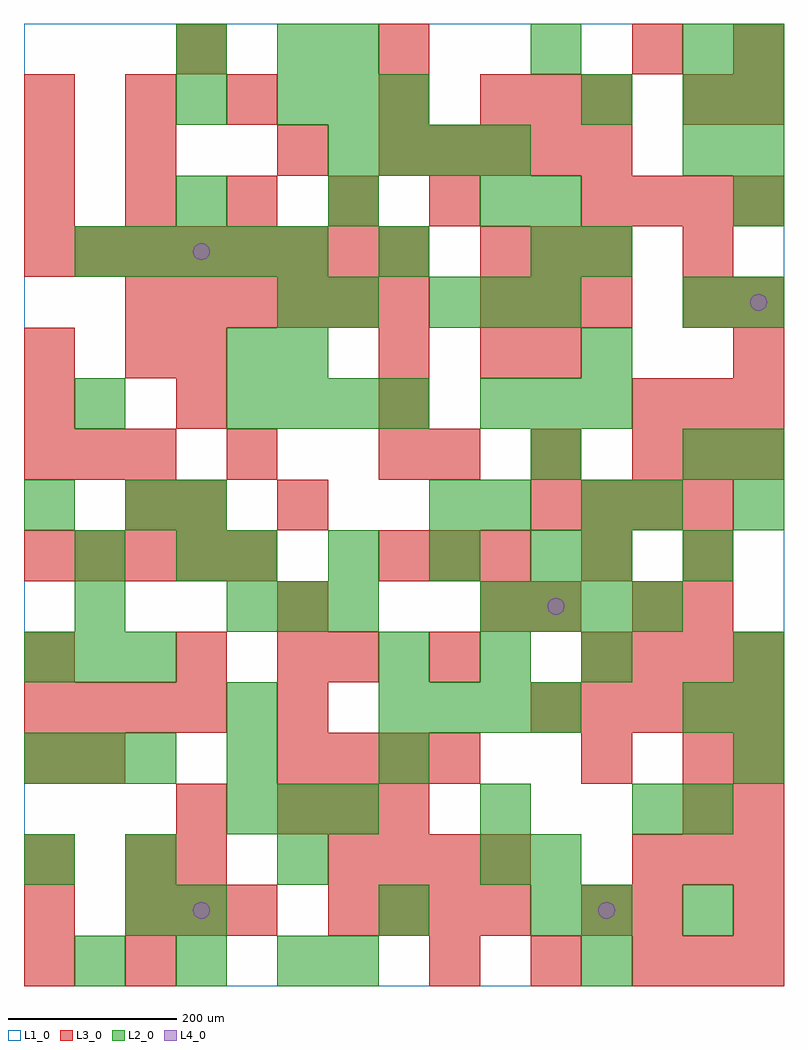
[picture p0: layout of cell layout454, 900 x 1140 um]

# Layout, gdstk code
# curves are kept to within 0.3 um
import gdstk
lib = gdstk.Library(unit=1e-6, precision=1e-09)
def R(c, l, rs):  # rectangles x0, y0, x1, y1
    for r in rs: c.add(gdstk.rectangle(r[:2], r[2:], *l))
def A(c, l, x, y, w, h, nx, ny, dx, dy):  # array of equal rectangles
    R(c, l, [(x+i*dx, y+j*dy, x+i*dx+w, y+j*dy+h) for i in range(nx) for j in range(ny)])
def P(c, l, *ps):  # polygons
    for p in ps: c.add(gdstk.Polygon(p, *l))
L1_0 = (1, 0)
L2_0 = (2, 0)
L3_0 = (3, 0)
L4_0 = (4, 0)

layout454 = lib.new_cell('layout454')
R(layout454, L1_0, [(0,0,900,1140)])
A(layout454, L2_0, 60, 0, 60, 60, 3, 1, 120, 0)
A(layout454, L2_0, 780, 60, 60, 60, 1, 3, 0, 120)
A(layout454, L2_0, 240, 180, 60, 60, 3, 2, 60, 240)
A(layout454, L2_0, 0, 240, 60, 60, 3, 2, 60, 120)
A(layout454, L2_0, 840, 240, 60, 60, 1, 3, 0, 60)
A(layout454, L2_0, 420, 300, 60, 60, 4, 1, 60, 0)
A(layout454, L2_0, 420, 360, 60, 60, 3, 1, 120, 0)
A(layout454, L2_0, 540, 420, 60, 60, 4, 1, 60, 0)
A(layout454, L2_0, 240, 480, 60, 60, 4, 1, 120, 0)
A(layout454, L2_0, 780, 600, 60, 60, 1, 3, 0, 180)
A(layout454, L2_0, 240, 660, 60, 60, 4, 1, 60, 0)
A(layout454, L2_0, 540, 660, 60, 60, 3, 1, 60, 0)
A(layout454, L2_0, 480, 780, 60, 60, 3, 1, 60, 0)
A(layout454, L2_0, 60, 840, 60, 60, 5, 1, 60, 0)
A(layout454, L2_0, 180, 900, 60, 60, 3, 1, 180, 0)
A(layout454, L2_0, 840, 900, 60, 60, 1, 4, 0, 60)
A(layout454, L2_0, 360, 960, 60, 60, 4, 1, 60, 0)
A(layout454, L2_0, 300, 1020, 60, 60, 3, 1, 60, 0)
R(layout454, L2_0, [(360,0,420,60), (660,0,720,60), (120,60,180,120), (180,60,240,120), (420,60,480,120), (600,60,660,120), (660,60,720,120), (0,120,60,180), (120,120,180,180), (300,120,360,180), (540,120,600,180), (600,120,660,180), (540,180,600,240), (720,180,780,240), (240,240,300,300), (420,240,480,300), (240,300,300,360), (60,420,120,480), (60,480,120,540), (180,480,240,540), (660,480,720,540), (780,480,840,540), (0,540,60,600), (120,540,180,600), (180,540,240,600), (480,540,540,600), (540,540,600,600), (660,540,720,600), (720,540,780,600), (840,540,900,600), (600,600,660,660), (840,600,900,660), (60,660,120,720), (240,720,300,780), (300,720,360,780), (660,720,720,780), (300,780,360,840), (360,780,420,840), (840,780,900,840), (420,840,480,900), (600,840,660,900), (660,840,720,900), (600,900,660,960), (180,1020,240,1080), (660,1020,720,1080), (780,1020,840,1080), (180,1080,240,1140), (300,1080,360,1140), (360,1080,420,1140), (600,1080,660,1140), (780,1080,840,1140)])
A(layout454, L3_0, 0, 0, 60, 60, 1, 3, 0, 60)
A(layout454, L3_0, 480, 0, 60, 60, 3, 2, 120, 600)
A(layout454, L3_0, 120, 60, 60, 60, 3, 1, 60, 0)
A(layout454, L3_0, 360, 60, 60, 60, 4, 2, 60, 60)
A(layout454, L3_0, 720, 120, 60, 60, 3, 2, 60, 540)
A(layout454, L3_0, 180, 180, 60, 60, 1, 3, 0, 180)
A(layout454, L3_0, 300, 180, 60, 60, 3, 1, 60, 0)
A(layout454, L3_0, 300, 240, 60, 60, 4, 1, 60, 0)
A(layout454, L3_0, 0, 300, 60, 60, 4, 1, 60, 0)
A(layout454, L3_0, 300, 300, 60, 60, 1, 3, 0, 60)
A(layout454, L3_0, 600, 300, 60, 60, 5, 1, 60, 0)
A(layout454, L3_0, 660, 360, 60, 60, 4, 2, 60, 540)
A(layout454, L3_0, 0, 480, 60, 60, 5, 1, 60, 0)
A(layout454, L3_0, 420, 480, 60, 60, 3, 1, 60, 0)
A(layout454, L3_0, 600, 540, 60, 60, 4, 1, 60, 0)
A(layout454, L3_0, 0, 600, 60, 60, 3, 1, 60, 0)
A(layout454, L3_0, 420, 600, 60, 60, 1, 3, 0, 60)
A(layout454, L3_0, 120, 780, 60, 60, 6, 1, 60, 0)
A(layout454, L3_0, 540, 780, 60, 60, 3, 2, 60, 60)
A(layout454, L3_0, 0, 840, 60, 60, 8, 1, 60, 0)
A(layout454, L3_0, 0, 900, 60, 60, 5, 1, 120, 0)
A(layout454, L3_0, 420, 960, 60, 60, 5, 1, 60, 0)
A(layout454, L3_0, 0, 1020, 60, 60, 3, 1, 120, 0)
A(layout454, L3_0, 540, 1020, 60, 60, 3, 1, 60, 0)
R(layout454, L3_0, [(120,0,180,60), (780,0,840,60), (840,0,900,60), (660,60,720,120), (720,60,780,120), (840,60,900,120), (120,120,180,180), (180,120,240,180), (780,180,840,240), (840,180,900,240), (0,240,60,300), (60,240,120,300), (660,240,720,300), (780,240,840,300), (840,240,900,300), (0,360,60,420), (360,360,420,420), (480,360,540,420), (540,420,600,480), (600,420,660,480), (720,420,780,480), (780,420,840,480), (660,480,720,540), (780,480,840,540), (120,540,180,600), (300,540,360,600), (240,600,300,660), (780,600,840,660), (840,600,900,660), (0,660,60,720), (180,660,240,720), (0,720,60,780), (120,720,180,780), (180,720,240,780), (540,720,600,780), (600,720,660,780), (840,720,900,780), (780,780,840,840), (840,780,900,840), (780,840,840,900), (0,960,60,1020), (120,960,180,1020), (300,960,360,1020), (420,1020,480,1080), (780,1020,840,1080), (840,1020,900,1080), (180,1080,240,1140), (420,1080,480,1140), (720,1080,780,1140), (840,1080,900,1140)])
P(layout454, L4_0, [(220,90),(219.239,93.827),(217.071,97.071),(213.827,99.239),(210,100),(206.173,99.239),(202.929,97.071),(200.761,93.827),(200,90),(200.761,86.173),(202.929,82.929),(206.173,80.761),(210,80),(213.827,80.761),(217.071,82.929),(219.239,86.173)],
  [(220,870),(219.239,873.827),(217.071,877.071),(213.827,879.239),(210,880),(206.173,879.239),(202.929,877.071),(200.761,873.827),(200,870),(200.761,866.173),(202.929,862.929),(206.173,860.761),(210,860),(213.827,860.761),(217.071,862.929),(219.239,866.173)],
  [(640,450),(639.239,453.827),(637.071,457.071),(633.827,459.239),(630,460),(626.173,459.239),(622.929,457.071),(620.761,453.827),(620,450),(620.761,446.173),(622.929,442.929),(626.173,440.761),(630,440),(633.827,440.761),(637.071,442.929),(639.239,446.173)],
  [(700,90),(699.239,93.827),(697.071,97.071),(693.827,99.239),(690,100),(686.173,99.239),(682.929,97.071),(680.761,93.827),(680,90),(680.761,86.173),(682.929,82.929),(686.173,80.761),(690,80),(693.827,80.761),(697.071,82.929),(699.239,86.173)],
  [(880,810),(879.239,813.827),(877.071,817.071),(873.827,819.239),(870,820),(866.173,819.239),(862.929,817.071),(860.761,813.827),(860,810),(860.761,806.173),(862.929,802.929),(866.173,800.761),(870,800),(873.827,800.761),(877.071,802.929),(879.239,806.173)])

lib.write_gds('layout454.gds')
